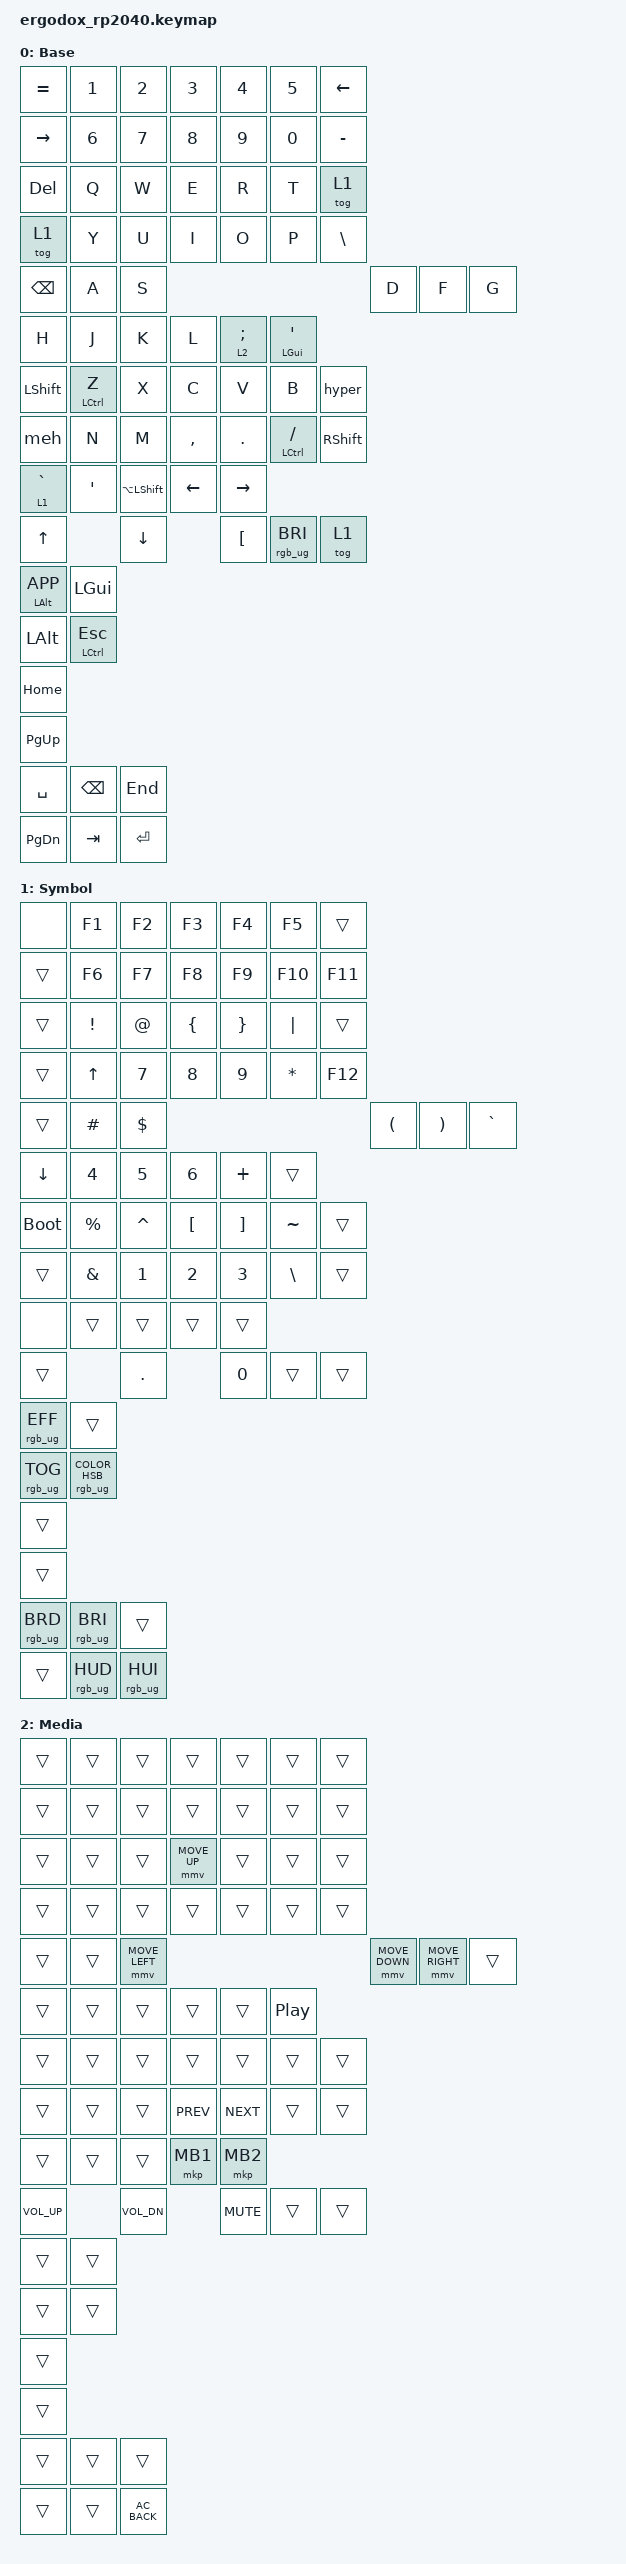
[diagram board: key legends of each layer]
/*
 * SPDX-License-Identifier: GPL-2.0-or-later
 *
 * Default ErgoDox keymap. Key positions and keycodes are translated from the
 * ZSA QMK ergodox_ez default keymap (firmware25, LAYOUT_ergodox_pretty),
 * which is GPL-2.0-or-later. This is not a copy of that C file.
 *
 * VRSN has no ZMK string, so it is &none. EE_CLR is &none and is not bootloader.
 * QK_BOOT is &bootloader (RST_UF2). LED_LEVEL is &rgb_ug RGB_BRI because this
 * board has SK6812 underglow rather than the three ErgoDox EZ LEDs.
 * TT(SYMB) is &tog 1. ALL_T(KC_NO) and MEH_T(KC_NO) are the hold-only macros
 * hyper and meh. RGB_M_P has no ZMK mode select; RGB_COLOR_HSB(0, 0, 10) is a
 * stand-in for solid white at the 10% cap, not a verified QMK equivalent.
 */

#include <behaviors.dtsi>
#include <dt-bindings/zmk/keys.h>
#include <dt-bindings/zmk/pointing.h>
#include <dt-bindings/zmk/rgb.h>

/ {
    macros {
        hyper: hyper {
            compatible = "zmk,behavior-macro";
            #binding-cells = <0>;
            bindings
                = <&macro_press &kp LCTRL &kp LSHFT &kp LALT &kp LGUI>
                , <&macro_pause_for_release>
                , <&macro_release &kp LCTRL &kp LSHFT &kp LALT &kp LGUI>
                ;
        };

        meh: meh {
            compatible = "zmk,behavior-macro";
            #binding-cells = <0>;
            bindings
                = <&macro_press &kp LCTRL &kp LSHFT &kp LALT>
                , <&macro_pause_for_release>
                , <&macro_release &kp LCTRL &kp LSHFT &kp LALT>
                ;
        };
    };

    keymap {
        compatible = "zmk,keymap";

        base_layer {
            display-name = "Base";
            bindings = <
                &kp EQUAL &kp N1 &kp N2 &kp N3 &kp N4 &kp N5 &kp LEFT
                &kp RIGHT &kp N6 &kp N7 &kp N8 &kp N9 &kp N0 &kp MINUS
                &kp DEL &kp Q &kp W &kp E &kp R &kp T &tog 1
                &tog 1 &kp Y &kp U &kp I &kp O &kp P &kp BSLH
                &kp BSPC &kp A &kp S &kp D &kp F &kp G
                &kp H &kp J &kp K &kp L &lt 2 SEMI &mt LGUI SQT
                &kp LSHFT &mt LCTRL Z &kp X &kp C &kp V &kp B &hyper
                &meh &kp N &kp M &kp COMMA &kp DOT &mt LCTRL FSLH &kp RSHFT
                &lt 1 GRAVE &kp SQT &kp LA(LSHFT) &kp LEFT &kp RIGHT
                &kp UP &kp DOWN &kp LBKT &rgb_ug RGB_BRI &tog 1
                &mt LALT K_APP &kp LGUI
                &kp LALT &mt LCTRL ESC
                &kp HOME
                &kp PG_UP
                &kp SPACE &kp BSPC &kp END
                &kp PG_DN &kp TAB &kp ENTER
            >;
        };

        symbol_layer {
            display-name = "Symbol";
            bindings = <
                &none &kp F1 &kp F2 &kp F3 &kp F4 &kp F5 &trans
                &trans &kp F6 &kp F7 &kp F8 &kp F9 &kp F10 &kp F11
                &trans &kp EXCL &kp AT &kp LBRC &kp RBRC &kp PIPE &trans
                &trans &kp UP &kp N7 &kp N8 &kp N9 &kp STAR &kp F12
                &trans &kp HASH &kp DOLLAR &kp LPAR &kp RPAR &kp GRAVE
                &kp DOWN &kp N4 &kp N5 &kp N6 &kp PLUS &trans
                &bootloader &kp PERCENT &kp CARET &kp LBKT &kp RBKT &kp TILDE &trans
                &trans &kp AMPS &kp N1 &kp N2 &kp N3 &kp BSLH &trans
                &none &trans &trans &trans &trans
                &trans &kp DOT &kp N0 &trans &trans
                &rgb_ug RGB_EFF &trans
                &rgb_ug RGB_TOG &rgb_ug RGB_COLOR_HSB(0, 0, 10)
                &trans
                &trans
                &rgb_ug RGB_BRD &rgb_ug RGB_BRI &trans
                &trans &rgb_ug RGB_HUD &rgb_ug RGB_HUI
            >;
        };

        media_layer {
            display-name = "Media";
            bindings = <
                &trans &trans &trans &trans &trans &trans &trans
                &trans &trans &trans &trans &trans &trans &trans
                &trans &trans &trans &mmv MOVE_UP &trans &trans &trans
                &trans &trans &trans &trans &trans &trans &trans
                &trans &trans &mmv MOVE_LEFT &mmv MOVE_DOWN &mmv MOVE_RIGHT &trans
                &trans &trans &trans &trans &trans &kp C_PLAY_PAUSE
                &trans &trans &trans &trans &trans &trans &trans
                &trans &trans &trans &kp C_PREV &kp C_NEXT &trans &trans
                &trans &trans &trans &mkp MB1 &mkp MB2
                &kp C_VOL_UP &kp C_VOL_DN &kp C_MUTE &trans &trans
                &trans &trans
                &trans &trans
                &trans
                &trans
                &trans &trans &trans
                &trans &trans &kp C_AC_BACK
            >;
        };
    };
};
